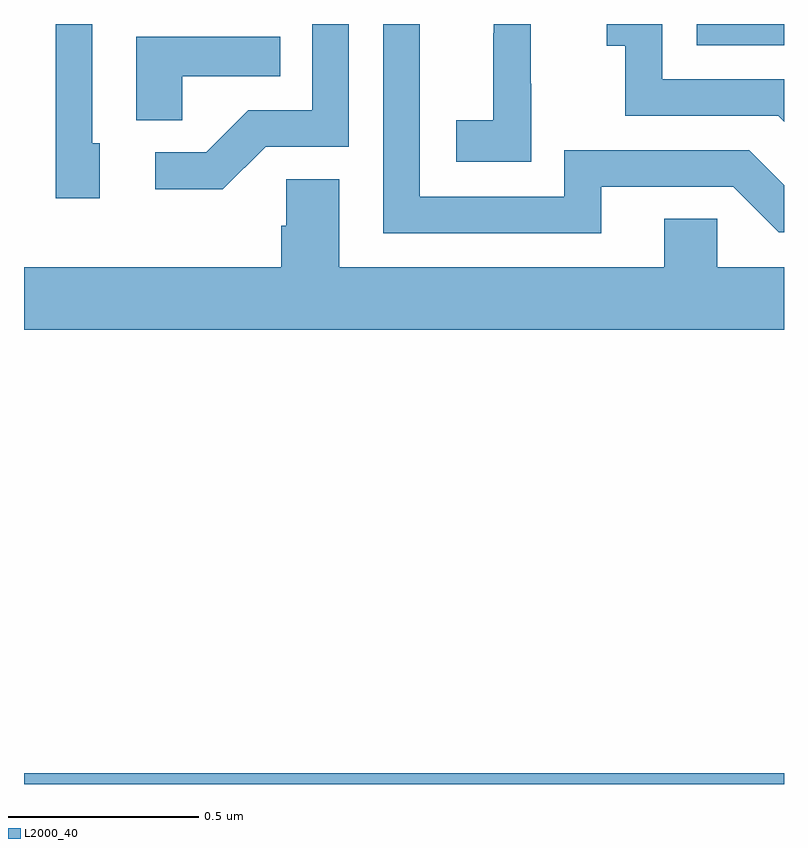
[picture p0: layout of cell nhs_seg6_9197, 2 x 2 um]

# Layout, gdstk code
import gdstk
lib = gdstk.Library(unit=1e-6, precision=1e-09)
def R(c, l, rs):  # rectangles x0, y0, x1, y1
    for r in rs: c.add(gdstk.rectangle(r[:2], r[2:], *l))
def P(c, l, *ps):  # polygons
    for p in ps: c.add(gdstk.Polygon(p, *l))
L2000_40 = (2000, 40)

nhs_seg6_9197 = lib.new_cell('nhs_seg6_9197')
R(nhs_seg6_9197, L2000_40, [(231,919.5,233,919.528), (232.77,921.444,233,921.5)])
P(nhs_seg6_9197, L2000_40, [(232.335,921.343),(232.334,921.343),(232.334,921.5),(232.236,921.5),(232.236,921.476),(232.235,921.476),(232.235,921.247),(232.137,921.247),(232.137,921.137),(232.335,921.137)],
  [(231.636,921.177),(231.855,921.177),(231.855,921.5),(231.759,921.5),(231.759,921.273),(231.59,921.273),(231.479,921.162),(231.345,921.162),(231.345,921.065),(231.523,921.065)],
  [(231.199,921.186),(231.18,921.186),(231.18,921.5),(231.084,921.5),(231.084,921.042),(231.199,921.042)],
  [(232.519,921.072),(232.866,921.072),(232.986,920.952),(233,920.952),(233,921.076),(232.908,921.168),(232.422,921.168),(232.422,921.045),(232.041,921.045),(232.041,921.5),(231.945,921.5),(231.945,920.949),(232.519,920.949)],
  [(233,921.354),(232.68,921.354),(232.68,921.5),(232.533,921.5),(232.533,921.443),(232.582,921.443),(232.582,921.258),(232.985,921.258),(233,921.243)],
  [(231.417,921.362),(231.674,921.362),(231.674,921.466),(231.296,921.466),(231.296,921.247),(231.417,921.247)],
  [(233,920.86),(232.824,920.86),(232.824,920.987),(232.685,920.987),(232.685,920.86),(231.829,920.86),(231.829,921.092),(231.69,921.092),(231.69,920.969),(231.677,920.969),(231.677,920.86),(231,920.86),(231,920.696),(233,920.696)])

lib.write_gds('nhs_seg6_9197.gds')
